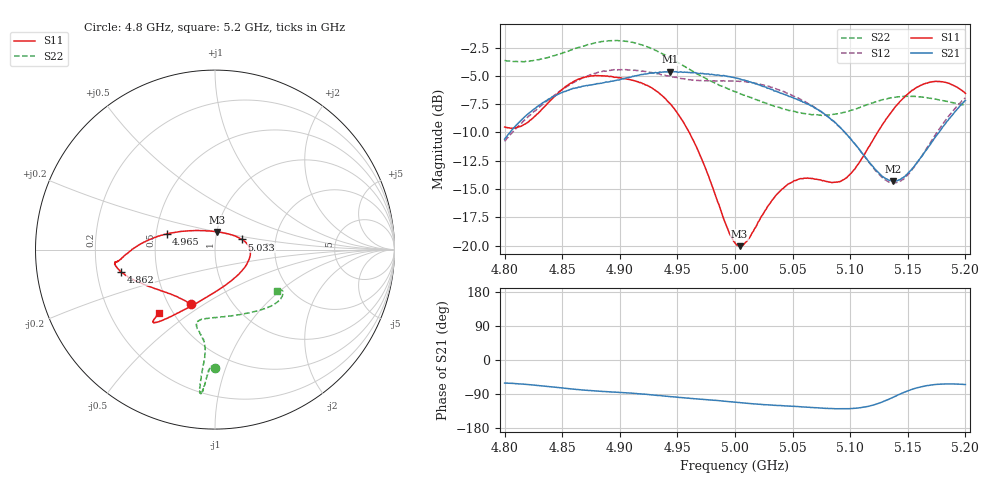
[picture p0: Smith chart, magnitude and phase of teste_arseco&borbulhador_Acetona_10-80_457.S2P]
! Network Analyzer HP8722D
! Hewlett-Packard
! Data name: Linha & Wilkinson
! Saver's name: Rodrigo Anjos
! Comments: Teste da utilização de aquisição
! continua pelo VNA HP8722D
! Time and date: 17/4/2025 18:10
!  Frequency  S11  S21  S12  S22
# HZ  S  MA R 50
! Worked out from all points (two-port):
!   401 points, 4.8 GHz to 5.2 GHz, reference 50 ohm
!   highest |S21| = -4.63 dB at 4.944 GHz (marker M1); lowest = -14.3 dB at 5.137 GHz (marker M2)
!   |S21| within 3 dB of the highest: 4.83 GHz to 5.066 GHz (236.1 MHz wide, 4.77 % of centre); 5.195646 GHz to end of sweep
!   lowest |S11| = -20.0 dB at 5.004 GHz (marker M3), VSWR 1.22, Z = 50.2 + j10 ohm
!   |S11| at or under -10 dB: 4.96 GHz to 5.124 GHz (163.3 MHz wide, 3.24 % of centre)
!   |S22| runs from -8.5 to -1.9 dB; largest |S21 - S12| = 0.88
!   S11 on the Smith chart (normalised r, x): 4.8 GHz: 0.64, -0.44; 4.862 GHz: 0.30, -0.11; 4.965 GHz: 0.57, +0.11; 5.033 GHz: 1.34, +0.16; 5.2 GHz: 0.42, -0.38
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4.8e9  0.3342 -113.8  0.2955 -60.9  0.289 -175.2  0.6578 -90.2
4.819e9  0.348 -134.1  0.377 -64.5  0.3648 -174.0  0.653 -91.9
4.862e9  0.5377 -166.6  0.4984 -77.5  0.5325 -177.3  0.7454 -94.2
4.867e9  0.5497 -168.6  0.5052 -79.0  0.549 -178.3  0.7579 -94.4
4.9e9  0.5522 -173.0  0.5411 -85.5  0.5979 175.2  0.8041 -95.7
4.934e9  0.473 -179.1  0.5829 -93.9  0.5749 171.6  0.7162 -96.2
4.944e9  0.4219 176.3  0.587 -96.6  0.5594 171.6  0.674 -96.0
4.965e9  0.2835 162.2  0.5819 -102.3  0.538 173.5  0.5825 -95.5
5e9  0.1029 97.3  0.5512 -111.4  0.5352 175.9  0.479 -99.7
5.004e9  0.09947 83.4  0.5456 -112.3  0.5311 175.9  0.4703 -100.4
5.012e9  0.1076 58.1  0.5299 -114.6  0.5274 175.6  0.4543 -102.2
5.033e9  0.1604 20.7  0.4879 -119.1  0.4991 174.4  0.4152 -103.9
5.049e9  0.1902 4.5  0.4527 -121.9  0.4628 173.8  0.3934 -99.9
5.067e9  0.1981 -14.8  0.4141 -125.3  0.4148 173.3  0.378 -90.4
5.086e9  0.1905 -45.2  0.3539 -128.3  0.3529 173.4  0.3805 -76.0
5.097e9  0.1997 -67.8  0.3097 -128.7  0.3103 174.7  0.3904 -66.9
5.134e9  0.3788 -117.5  0.1944 -102.9  0.1905 -155.9  0.4479 -43.0
5.137e9  0.397 -119.2  0.1924 -98.8  0.1893 -151.0  0.4509 -41.7
5.149e9  0.4632 -124.6  0.2062 -82.6  0.2031 -132.5  0.4565 -37.2
5.168e9  0.5253 -129.3  0.2735 -67.2  0.2769 -113.3  0.4484 -32.5
5.184e9  0.524 -130.9  0.3538 -63.2  0.3652 -107.5  0.4341 -31.4
5.2e9  0.4705 -131.3  0.4378 -64.7  0.45 -106.8  0.4169 -33.7
